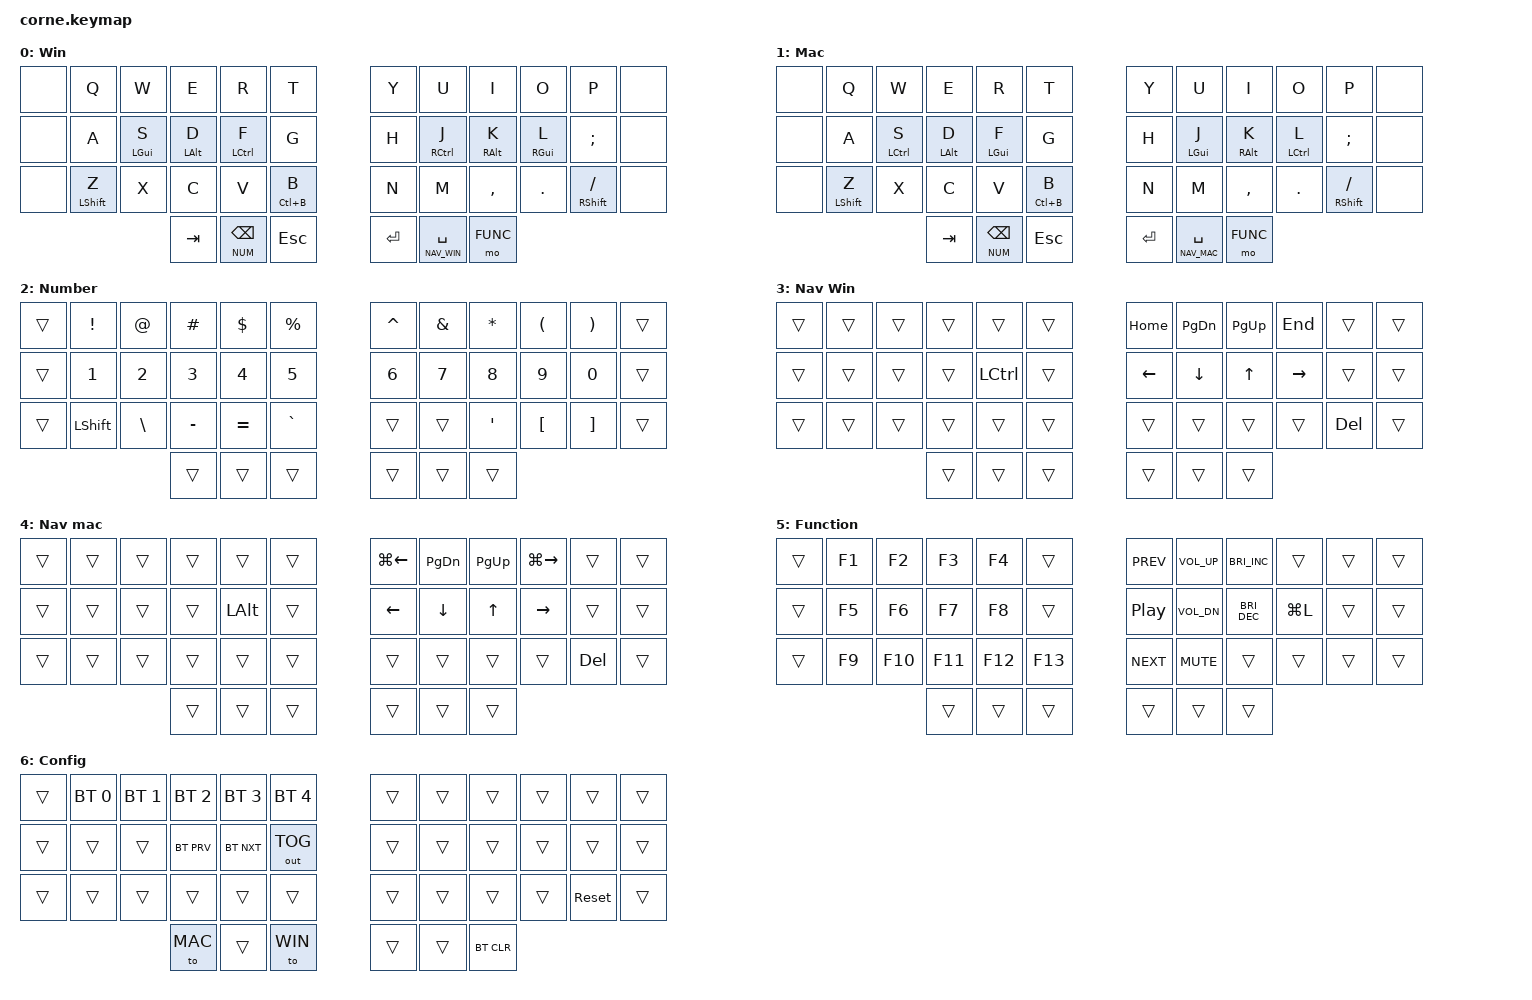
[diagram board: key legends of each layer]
/*
 * Copyright (c) 2020 The ZMK Contributors
 *
 * SPDX-License-Identifier: MIT
 */

#include <behaviors.dtsi>
#include <dt-bindings/zmk/bt.h>
#include <dt-bindings/zmk/keys.h>
#include <dt-bindings/zmk/outputs.h>
#include "keypos_36keys.h"

#define XXX &none
#define ___ &trans
#define COMBO_TERM_H 30

#define WIN 0
#define MAC 1
#define NUM 2
#define NAV_WIN 3
#define NAV_MAC 4
#define FUNC 5
#define CONF 6

#define COMBO(NAME, BINDINGS, KEYPOS, LAYERS, TERM) \
    combo_##NAME { \
        timeout-ms = <TERM>; \
        bindings = <BINDINGS>; \
        key-positions = <KEYPOS>; \
        layers = <LAYERS>; \
    };

&mt {
    tapping-term-ms = <120>;
};

&lt {
    tapping-term-ms = <120>;
};

/ {
    behaviors {
        ht: hold_tap {
            label = "hold_tap";
            compatible = "zmk,behavior-hold-tap";
            #binding-cells = <2>;
            flavor = "tap-preferred";
            tapping-term-ms = <170>;
            quick-tap-ms = <170>;
            global-quick-tap;
            bindings =
                <&kp>,
                <&kp>;
        };
    };

    macros {
        cyberark_macro: cyberark_marco {
            compatible = "zmk,behavior-macro";
            #binding-cells = <0>;
            bindings
                = <&macro_tap &kp W &kp O &kp R &kp K >
                , <&macro_wait_time 100>
                , <&kp TAB &kp TAB>
                , <&macro_wait_time 50>
                , <&kp DOWN &kp DOWN &kp TAB &kp TAB &kp TAB &kp TAB &kp ENTER>
                ;
        };

        download_path_macro: download_path_macro {
            compatible = "zmk,behavior-macro";
            tap-ms = <5>;
            wait-ms = <5>;
            #binding-cells = <0>;
            bindings
                = <&macro_tap &kp BSLH &kp BSLH &kp T &kp S &kp C &kp L &kp I &kp E &kp N &kp T &kp BSLH &kp Y>
                , <&macro_tap &kp BSLH &kp U &kp S &kp E &kp R &kp S &kp BSLH &kp T &kp A &kp N &kp A &kp W &kp A &kp T &kp K>
                , <&macro_tap &kp BSLH &kp D &kp O &kp W &kp N &kp L &kp O &kp A &kp D &kp S &kp ENTER>
                ;
        };

        license_plate_macro: license_plate_macro {
            compatible = "zmk,behavior-macro";
            wait-ms = <5>;
            tap-ms = <5>;
            #binding-cells = <0>;
            bindings
                = <&macro_tap &kp L &kp G &kp W &kp F &kp F &kp V &kp K &kp N6 &kp N4 &kp R &kp T &kp N9 &kp N0 &kp N2 &kp N2 &kp N1 &kp N1>
                , <&macro_tap &kp TAB &kp O &kp R &kp A &kp TAB &kp N0 &kp N9 &kp N7 &kp N0 &kp N0 &kp N9 &kp N4 &kp N4 &kp N6 &kp N0>
                , <&macro_tap &kp TAB &kp N2 &kp N8 &kp N9 &kp ENTER>
                ;
        };
    };

    combos {
        compatible = "zmk,combos";

        // combo on base WIN layer
        COMBO(         copy_win,            &kp LC(C), LM2 LM3, WIN, COMBO_TERM_H) // s d -> copy
        COMBO(        paste_win,            &kp LC(V), LM1 LM2, WIN, COMBO_TERM_H) // d f -> paste
        COMBO(          cut_win,            &kp LC(X), LM1 LM3, WIN, COMBO_TERM_H) // s f -> cut
        COMBO(       ctrl_r_win,            &kp LC(R), LM4 LT1, WIN, COMBO_TERM_H) // a r -> ctrl + r
        COMBO(       ctrl_t_win,            &kp LC(T), LM4 LT0, WIN, COMBO_TERM_H) // a t -> ctrl + t
        COMBO(   screenshot_win,        &kp LG(LS(S)), LH0 LM3, WIN, COMBO_TERM_H) // esc s -> win + shift + s
        COMBO(       ctrl_f_win,            &kp LC(F), LM4 LM1, WIN, COMBO_TERM_H) // a f -> ctrl + f
        COMBO(     cyberark_win,      &cyberark_macro, LH0 LT4, WIN, COMBO_TERM_H) // cyberark macro win layer
        COMBO(download_path_win, &download_path_macro, LH0 LT3, WIN, COMBO_TERM_H) // type download path
        COMBO(license_plate_win, &license_plate_macro, LH0 LT1, WIN, COMBO_TERM_H) // automate license plate reservation

        // combo on base MAC layer
        COMBO(         copy_mac,            &kp LG(C), LM2 LM3, MAC, COMBO_TERM_H) // s d -> copy
        COMBO(        paste_mac,            &kp LG(V), LM1 LM2, MAC, COMBO_TERM_H) // d f -> paste
        COMBO(          cut_mac,            &kp LG(X), LM1 LM3, MAC, COMBO_TERM_H) // s f -> cut
        COMBO(       ctrl_r_mac,            &kp LG(R), LM4 LT1, MAC, COMBO_TERM_H) // a r -> ctrl + r
        COMBO(       ctrl_t_mac,            &kp LG(T), LM4 LT0, MAC, COMBO_TERM_H) // a t -> ctrl + t
        COMBO(        cmd_grave,        &kp LG(GRAVE), LM2 LB4, MAC, COMBO_TERM_H) // change language
        COMBO(        cmd_f_mac,            &kp LG(F), LM1 LM4, MAC, COMBO_TERM_H) // anoter a f -> cmd + f
        COMBO(   screenshot_mac,       &kp LG(DOLLAR), LH0 LM3, MAC, COMBO_TERM_H) // esc s -> win + shift + s
        COMBO(     cyberark_mac,      &cyberark_macro, LH0 LT4, MAC, COMBO_TERM_H) // cyberark macro mac layer
        COMBO(download_path_mac, &download_path_macro, LH0 LT3, MAC, COMBO_TERM_H) // type download path
        COMBO(license_plate_mac, &license_plate_macro, LH0 LT1, MAC, COMBO_TERM_H) // automate license plate reservation
    };

    conditional_layers {
        compatible = "zmk,conditional-layers";
        conf_layer_from_nav_win {
            if-layers = <NUM NAV_WIN>;
            then-layer = <CONF>;
        };

        conf_layer_from_nav_mac {
            if-layers = <NUM NAV_MAC>;
            then-layer = <CONF>;
        };
    };

    keymap {
        compatible = "zmk,keymap";

        // -----------------------------------------------------------------------------------------
        win_layer {
            display-name = "Win";
            bindings = <
            //╭──────╮ ╭─────────────┬─────────────┬─────────────┬─────────────┬─────────────╮ ╭──────╮ ╭─────────────┬─────────────┬─────────────┬─────────────┬─────────────╮ ╭──────╮
                XXX         &kp Q         &kp W         &kp E         &kp R         &kp T                     &kp Y         &kp U         &kp I         &kp O         &kp P       XXX
            //├──────┤ ├─────────────┼─────────────┼─────────────┼─────────────┼─────────────┤ ├──────┤ ├─────────────┼─────────────┼─────────────┼─────────────┼─────────────┤ ├──────┤
                XXX         &kp A       &ht LGUI S    &ht LALT D   &ht LCTRL F      &kp G                     &kp H     &ht RCTRL J    &ht RALT K    &ht RGUI L     &kp SEMI      XXX
            //├──────┤ ├─────────────┼─────────────┼─────────────┼─────────────┼─────────────┤ ├──────┤ ├─────────────┼─────────────┼─────────────┼─────────────┼─────────────┤ ├──────┤
                XXX      &mt LSHIFT Z     &kp X         &kp C         &kp V      &ht LC(B) B                  &kp N         &kp M       &kp COMMA     &kp DOT   &mt RSHIFT FSLH   XXX
            //╰──────┤ ├─────────────┼─────────────┼─────────────┼─────────────┼─────────────┤ ├──────┤ ├─────────────┼─────────────┼─────────────┼─────────────┼─────────────┤ ├──────╯
                                                       &kp TAB    &lt NUM BSPC     &kp ESC                 &kp ENTER  &lt NAV_WIN SPACE  &mo FUNC
            //                                     ╰─────────────┴─────────────┴─────────────╯ ╰──────╯ ╰─────────────┴─────────────┴─────────────╯
            >;
        };

        // -----------------------------------------------------------------------------------------
        mac_layer {
            display-name = "Mac";
            bindings = <
            //╭──────╮ ╭─────────────┬─────────────┬─────────────┬─────────────┬─────────────╮ ╭──────╮ ╭─────────────┬─────────────┬─────────────┬─────────────┬─────────────╮ ╭──────╮
                XXX         &kp Q         &kp W         &kp E         &kp R         &kp T                     &kp Y         &kp U         &kp I         &kp O         &kp P       XXX
            //├──────┤ ├─────────────┼─────────────┼─────────────┼─────────────┼─────────────┤ ├──────┤ ├─────────────┼─────────────┼─────────────┼─────────────┼─────────────┤ ├──────┤
                XXX         &kp A       &ht LCTRL S   &ht LALT D    &ht LGUI F      &kp G                     &kp H      &ht LGUI J    &ht RALT K   &ht LCTRL L      &kp SEMI      XXX
            //├──────┤ ├─────────────┼─────────────┼─────────────┼─────────────┼─────────────┤ ├──────┤ ├─────────────┼─────────────┼─────────────┼─────────────┼─────────────┤ ├──────┤
                XXX      &mt LSHIFT Z     &kp X         &kp C         &kp V      &ht LC(B) B                  &kp N         &kp M       &kp COMMA     &kp DOT   &mt RSHIFT FSLH   XXX
            //╰──────┤ ├─────────────┼─────────────┼─────────────┼─────────────┼─────────────┤ ├──────┤ ├─────────────┼─────────────┼─────────────┼─────────────┼─────────────┤ ├──────╯
                                                       &kp TAB    &lt NUM BSPC     &kp ESC                 &kp ENTER  &lt NAV_MAC SPACE  &mo FUNC
            //                                     ╰─────────────┴─────────────┴─────────────╯ ╰──────╯ ╰─────────────┴─────────────┴─────────────╯
            >;
        };

        // -----------------------------------------------------------------------------------------
        num_layer {
            display-name = "Number";
            bindings = <
            //╭──────╮ ╭─────────────┬─────────────┬─────────────┬─────────────┬─────────────╮ ╭──────╮ ╭─────────────┬─────────────┬─────────────┬─────────────┬─────────────╮ ╭──────╮
                ___    &kp EXCLAMATION  &kp AT_SIGN   &kp POUND    &kp DOLLAR    &kp PERCENT               &kp CARET   &kp AMPERSAND  &kp ASTERISK    &kp LPAR      &kp RPAR      ___
            //├──────┤ ├─────────────┼─────────────┼─────────────┼─────────────┼─────────────┤ ├──────┤ ├─────────────┼─────────────┼─────────────┼─────────────┼─────────────┤ ├──────┤
                ___        &kp N1         &kp N2        &kp N3       &kp N4        &kp N5                    &kp N6        &kp N7        &kp N8        &kp N9        &kp N0       ___
            //├──────┤ ├─────────────┼─────────────┼─────────────┼─────────────┼─────────────┤ ├──────┤ ├─────────────┼─────────────┼─────────────┼─────────────┼─────────────┤ ├──────┤
                ___      &kp LSHIFT      &kp BSLH     &kp MINUS     &kp EQUAL     &kp GRAVE                   ___           ___         &kp SQT       &kp LBKT      &kp RBKT      ___
            //╰──────┤ ├─────────────┼─────────────┼─────────────┼─────────────┼─────────────┤ ├──────┤ ├─────────────┼─────────────┼─────────────┼─────────────┼─────────────┤ ├──────╯
                                                         ___           ___           ___                      ___           ___           ___
            //                                     ╰─────────────┴─────────────┴─────────────╯ ╰──────╯ ╰─────────────┴─────────────┴─────────────╯
            >;
        };

        // -----------------------------------------------------------------------------------------
        nav_layer_win {
            display-name = "Nav Win";
            bindings = <
            //╭──────╮ ╭─────────────┬─────────────┬─────────────┬─────────────┬─────────────╮ ╭──────╮ ╭─────────────┬─────────────┬─────────────┬─────────────┬─────────────╮ ╭──────╮
                ___          ___           ___           ___           ___           ___                    &kp HOME     &kp PG_DN     &kp PG_UP      &kp END         ___         ___
            //├──────┤ ├─────────────┼─────────────┼─────────────┼─────────────┼─────────────┤ ├──────┤ ├─────────────┼─────────────┼─────────────┼─────────────┼─────────────┤ ├──────┤
                ___          ___           ___           ___        &kp LCTRL        ___                    &kp LEFT     &kp DOWN       &kp UP       &kp RIGHT        ___         ___
            //├──────┤ ├─────────────┼─────────────┼─────────────┼─────────────┼─────────────┤ ├──────┤ ├─────────────┼─────────────┼─────────────┼─────────────┼─────────────┤ ├──────┤
                ___          ___           ___           ___           ___           ___                      ___           ___           ___           ___        &kp DELETE     ___
            //╰──────┤ ├─────────────┼─────────────┼─────────────┼─────────────┼─────────────┤ ├──────┤ ├─────────────┼─────────────┼─────────────┼─────────────┼─────────────┤ ├──────╯
                                                         ___           ___           ___                      ___           ___           ___
            //                                     ╰─────────────┴─────────────┴─────────────╯ ╰──────╯ ╰─────────────┴─────────────┴─────────────╯
            >;
        };

        // -----------------------------------------------------------------------------------------
        nav_layer_mac {
            display-name = "Nav mac";
            bindings = <
            //╭──────╮ ╭─────────────┬─────────────┬─────────────┬─────────────┬─────────────╮ ╭──────╮ ╭─────────────┬─────────────┬─────────────┬─────────────┬─────────────╮ ╭──────╮
                ___          ___           ___           ___           ___           ___                  &kp LG(LEFT)   &kp PG_DN     &kp PG_UP   &kp LG(RIGHT)      ___         ___
            //├──────┤ ├─────────────┼─────────────┼─────────────┼─────────────┼─────────────┤ ├──────┤ ├─────────────┼─────────────┼─────────────┼─────────────┼─────────────┤ ├──────┤
                ___          ___           ___           ___         &kp LALT        ___                    &kp LEFT     &kp DOWN       &kp UP       &kp RIGHT        ___         ___
            //├──────┤ ├─────────────┼─────────────┼─────────────┼─────────────┼─────────────┤ ├──────┤ ├─────────────┼─────────────┼─────────────┼─────────────┼─────────────┤ ├──────┤
                ___          ___           ___           ___           ___           ___                      ___           ___           ___           ___        &kp DELETE     ___
            //╰──────┤ ├─────────────┼─────────────┼─────────────┼─────────────┼─────────────┤ ├──────┤ ├─────────────┼─────────────┼─────────────┼─────────────┼─────────────┤ ├──────╯
                                                         ___           ___           ___                      ___           ___           ___
            //                                     ╰─────────────┴─────────────┴─────────────╯ ╰──────╯ ╰─────────────┴─────────────┴─────────────╯
            >;
        };

        // -----------------------------------------------------------------------------------------
        Function {
            display-name = "Function";
            bindings = <
            //╭──────╮ ╭─────────────┬─────────────┬─────────────┬─────────────┬─────────────╮ ╭──────╮ ╭─────────────┬─────────────┬─────────────┬─────────────┬─────────────╮ ╭──────╮
                ___        &kp F1        &kp F2        &kp F3        &kp F4          ___                   &kp C_PREV  &kp C_VOL_UP  &kp C_BRI_INC      ___           ___         ___
            //├──────┤ ├─────────────┼─────────────┼─────────────┼─────────────┼─────────────┤ ├──────┤ ├─────────────┼─────────────┼─────────────┼─────────────┼─────────────┤ ├──────┤
                ___        &kp F5        &kp F6        &kp F7        &kp F8          ___                   &kp C_PP    &kp C_VOL_DN  &kp C_BRI_DEC   &kp LG(L)        ___         ___
            //├──────┤ ├─────────────┼─────────────┼─────────────┼─────────────┼─────────────┤ ├──────┤ ├─────────────┼─────────────┼─────────────┼─────────────┼─────────────┤ ├──────┤
                ___        &kp F9        &kp F10       &kp F11       &kp F12       &kp F13                 &kp C_NEXT   &kp C_MUTE        ___           ___           ___         ___
            //╰──────┤ ├─────────────┼─────────────┼─────────────┼─────────────┼─────────────┤ ├──────┤ ├─────────────┼─────────────┼─────────────┼─────────────┼─────────────┤ ├──────╯
                                                         ___           ___           ___                      ___           ___           ___
            //                                     ╰─────────────┴─────────────┴─────────────╯ ╰──────╯ ╰─────────────┴─────────────┴─────────────╯
            >;
        };

        // -----------------------------------------------------------------------------------------
        Bluetooth_and_reset {
            display-name = "Config";
            bindings = <
            //╭──────╮ ╭─────────────┬─────────────┬─────────────┬─────────────┬─────────────╮ ╭──────╮ ╭─────────────┬─────────────┬─────────────┬─────────────┬─────────────╮ ╭──────╮
                ___     &bt BT_SEL 0  &bt BT_SEL 1  &bt BT_SEL 2  &bt BT_SEL 3  &bt BT_SEL 4                  ___           ___           ___           ___           ___         ___
            //├──────┤ ├─────────────┼─────────────┼─────────────┼─────────────┼─────────────┤ ├──────┤ ├─────────────┼─────────────┼─────────────┼─────────────┼─────────────┤ ├──────┤
                ___          ___           ___       &bt BT_PRV    &bt BT_NXT   &out OUT_TOG                  ___           ___           ___           ___           ___         ___
            //├──────┤ ├─────────────┼─────────────┼─────────────┼─────────────┼─────────────┤ ├──────┤ ├─────────────┼─────────────┼─────────────┼─────────────┼─────────────┤ ├──────┤
                ___          ___           ___           ___           ___           ___                      ___           ___           ___           ___        &sys_reset     ___
            //╰──────┤ ├─────────────┼─────────────┼─────────────┼─────────────┼─────────────┤ ├──────┤ ├─────────────┼─────────────┼─────────────┼─────────────┼─────────────┤ ├──────╯
                                                      &to MAC          ___         &to WIN                    ___           ___        &bt BT_CLR
            //                                     ╰─────────────┴─────────────┴─────────────╯ ╰──────╯ ╰─────────────┴─────────────┴─────────────╯
            >;
        };

        extra_1 {
                status = "reserved";
        };

        extra_2 {
                status = "reserved";
        };

        extra_3 {
                status = "reserved";
        };
    };
};
